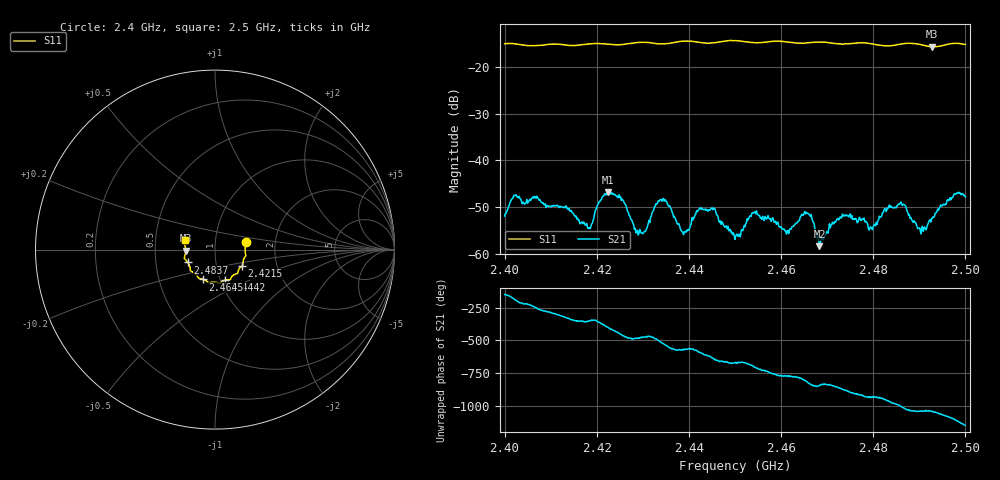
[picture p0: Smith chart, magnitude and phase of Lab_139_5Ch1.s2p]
# Hz S RI R
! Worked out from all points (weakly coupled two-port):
!   601 points, 2.4 GHz to 2.5 GHz, reference 50 ohm
!   highest |S21| = -46.78 dB at 2.4225 GHz (marker M1); lowest = -58.4 dB at 2.4683 GHz (marker M2)
!   lowest |S11| = -15.7 dB at 2.4928 GHz (marker M3), VSWR 1.39, Z = 36 - j0.382 ohm
!   |S11| at or under -10 dB: start of sweep to end of sweep
!   S12 and S22 are empty: the file has one direction only
!   S11 on the Smith chart (normalised r, x): 2.4 GHz: 1.41, +0.12; 2.4215 GHz: 1.33, -0.25; 2.4442 GHz: 1.05, -0.37; 2.4645 GHz: 0.83, -0.29; 2.4837 GHz: 0.73, -0.11; 2.5 GHz: 0.71, +0.07
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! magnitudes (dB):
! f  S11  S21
! 2.4 GHz  -15.1  -51.9
! 2.4067 GHz  -15.5  -47.8
! 2.4167 GHz  -15.3  -53.3
! 2.4185 GHz  -15.1  -54.6
! 2.4215 GHz  -15.1  -47.6
! 2.4225 GHz  -15.2  -46.8
! 2.4295 GHz  -14.8  -55.2
! 2.4333 GHz  -15.1  -48.7
! 2.439 GHz  -14.5  -55.3
! 2.4442 GHz  -15.0  -50.9
! 2.45 GHz  -14.4  -56.9
! 2.4542 GHz  -14.9  -51.1
! 2.4612 GHz  -14.7  -55.8
! 2.4645 GHz  -15.0  -51.6
! 2.4667 GHz  -14.8  -52.3
! 2.4683 GHz  -14.7  -58.4
! 2.4733 GHz  -15.2  -51.5
! 2.4833 GHz  -15.6  -50.0
! 2.4837 GHz  -15.5  -50.1
! 2.49 GHz  -15.2  -54.5
! 2.4928 GHz  -15.7  -52.5
! 2.5 GHz  -15.2  -47.8
